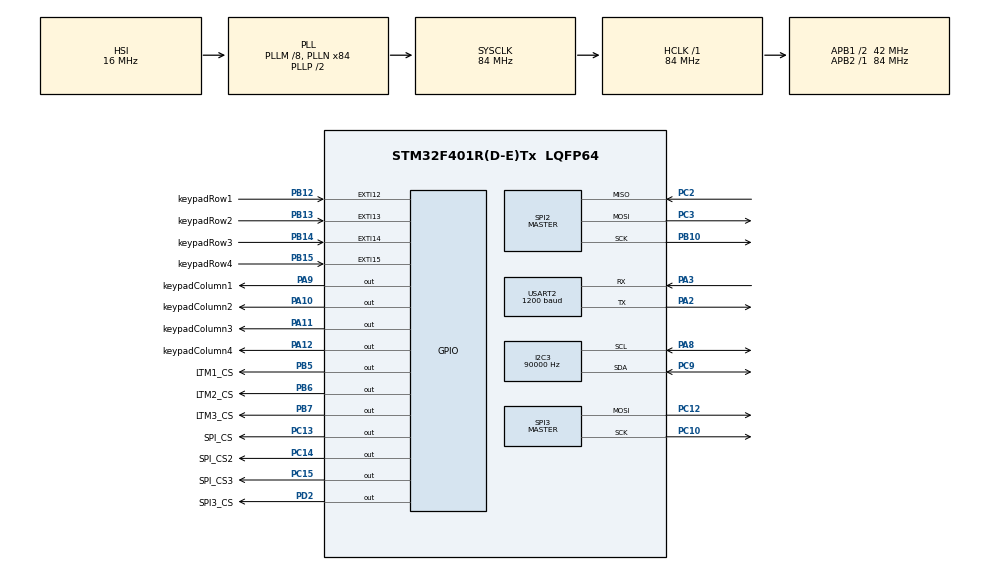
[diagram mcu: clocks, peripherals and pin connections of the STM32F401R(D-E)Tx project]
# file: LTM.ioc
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ADC1.Channel-1\#ChannelRegularConversion=ADC_CHANNEL_VREFINT
ADC1.NbrOfConversionFlag=1
ADC1.Rank-1\#ChannelRegularConversion=1
ADC1.SamplingTime-1\#ChannelRegularConversion=ADC_SAMPLETIME_3CYCLES
ADC1.ScanConvMode=ENABLE
ADC1.master=1
I2C3.ClockSpeed=90000
IWDG.Prescaler=IWDG_PRESCALER_16
Mcu.Family=STM32F4
Mcu.Name=STM32F401R(D-E)Tx
Mcu.Package=LQFP64
NVIC.ADC_IRQn=true\:0\:0\:false\:false\:true\:true\:true\:true
NVIC.EXTI15_10_IRQn=true\:0\:0\:false\:false\:true\:true\:true\:true
NVIC.PriorityGroup=NVIC_PRIORITYGROUP_4
NVIC.USART2_IRQn=true\:0\:0\:false\:false\:true\:true\:true\:true
PA10.GPIO_Label=keypadColumn2
PA10.Signal=GPIO_Output
PA11.GPIO_Label=keypadColumn3
PA11.Signal=GPIO_Output
PA12.GPIO_Label=keypadColumn4
PA12.Signal=GPIO_Output
PA2.Mode=Asynchronous
PA2.Signal=USART2_TX
PA3.Mode=Asynchronous
PA3.Signal=USART2_RX
PA8.Mode=I2C
PA8.Signal=I2C3_SCL
PA9.GPIO_Label=keypadColumn1
PA9.Signal=GPIO_Output
PB10.Mode=Full_Duplex_Master
PB10.Signal=SPI2_SCK
PB12.GPIO_Label=keypadRow1
PB12.GPIO_PuPd=GPIO_PULLDOWN
PB12.Signal=GPXTI12
PB13.GPIO_Label=keypadRow2
PB13.GPIO_PuPd=GPIO_PULLDOWN
PB13.Signal=GPXTI13
PB14.GPIO_Label=keypadRow3
PB14.GPIO_PuPd=GPIO_PULLDOWN
PB14.Signal=GPXTI14
PB15.GPIO_Label=keypadRow4
PB15.GPIO_PuPd=GPIO_PULLDOWN
PB15.Signal=GPXTI15
PB5.GPIO_Label=LTM1_CS
PB5.Signal=GPIO_Output
PB6.GPIO_Label=LTM2_CS
PB6.GPIO_PuPd=GPIO_NOPULL
PB6.GPIO_Speed=GPIO_SPEED_FREQ_LOW
PB6.Signal=GPIO_Output
PB7.GPIO_Label=LTM3_CS
PB7.Signal=GPIO_Output
PC10.Mode=TX_Only_Simplex_Unidirect_Master
PC10.Signal=SPI3_SCK
PC12.Mode=TX_Only_Simplex_Unidirect_Master
PC12.Signal=SPI3_MOSI
PC13-ANTI_TAMP.GPIO_Label=SPI_CS
PC13-ANTI_TAMP.Signal=GPIO_Output
PC14-OSC32_IN.GPIO_Label=SPI_CS2
PC14-OSC32_IN.Signal=GPIO_Output
PC15-OSC32_OUT.GPIO_Label=SPI_CS3
PC15-OSC32_OUT.Signal=GPIO_Output
PC2.Mode=Full_Duplex_Master
PC2.Signal=SPI2_MISO
PC3.Mode=Full_Duplex_Master
PC3.Signal=SPI2_MOSI
PC9.Mode=I2C
PC9.Signal=I2C3_SDA
PD2.GPIO_Label=SPI3_CS
PD2.Signal=GPIO_Output
ProjectManager.HeapSize=0x200
ProjectManager.StackSize=0x400
ProjectManager.TargetToolchain=STM32CubeIDE
RCC.48MHZClocksFreq_Value=42000000
RCC.AHBFreq_Value=84000000
RCC.APB1CLKDivider=RCC_HCLK_DIV2
RCC.APB1Freq_Value=42000000
RCC.APB1TimFreq_Value=84000000
RCC.APB2Freq_Value=84000000
RCC.APB2TimFreq_Value=84000000
RCC.CortexFreq_Value=84000000
RCC.HCLKFreq_Value=84000000
RCC.HSE_VALUE=25000000
RCC.HSI_VALUE=16000000
RCC.LSE_VALUE=32768
RCC.PLLM=8
RCC.PLLN=84
RCC.SYSCLKFreq_VALUE=84000000
RCC.SYSCLKSource=RCC_SYSCLKSOURCE_PLLCLK
RCC.VCOOutputFreq_Value=168000000
SPI2.BaudRatePrescaler=SPI_BAUDRATEPRESCALER_64
SPI2.CLKPhase=SPI_PHASE_1EDGE
SPI2.CLKPolarity=SPI_POLARITY_LOW
SPI2.Direction=SPI_DIRECTION_2LINES
SPI2.FirstBit=SPI_FIRSTBIT_MSB
SPI2.Mode=SPI_MODE_MASTER
SPI2.VirtualType=VM_MASTER
SPI3.BaudRatePrescaler=SPI_BAUDRATEPRESCALER_64
SPI3.Direction=SPI_DIRECTION_2LINES
SPI3.Mode=SPI_MODE_MASTER
SPI3.VirtualType=VM_MASTER
USART2.BaudRate=1200
USART2.Parity=PARITY_EVEN
USART2.VirtualMode=VM_ASYNC
USART2.WordLength=WORDLENGTH_9B
VP_ADC1_Vref_Input.Mode=IN-Vrefint
VP_IWDG_VS_IWDG.Mode=IWDG_Activate
board=custom

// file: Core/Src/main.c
/* USER CODE BEGIN Header */
/**
 ******************************************************************************
 * @file           : main.c
 * @brief          : Main program body
 ******************************************************************************
 * @attention
 *
 * Copyright (c) 2024 STMicroelectronics.
 * All rights reserved.
 *
 * This software is licensed under terms that can be found in the LICENSE file
 * in the root directory of this software component.
 * If no LICENSE file comes with this software, it is provided AS-IS.
 *
 ******************************************************************************
 */
/* USER CODE END Header */
#include "main.h"

/* USER CODE BEGIN Includes */
#include "LTC2986.h"
#include "max7219.h"
#include "i2c_lcd.h"
#include "keypad.h"
#include "string.h"
#include "stdio.h"
#include "stdbool.h"
#include "stdlib.h"
#include <math.h>
#include "ee.h"
//#include "stm32f4xx_hal_adc.h"
//#include "stm32f4xx_hal_adc_ex.h"
/* USER CODE END Includes */

ADC_HandleTypeDef hadc1;

I2C_HandleTypeDef hi2c3;

IWDG_HandleTypeDef hiwdg;

SPI_HandleTypeDef hspi2;
SPI_HandleTypeDef hspi3;

UART_HandleTypeDef huart2;

/* USER CODE BEGIN PV */
ADC_HandleTypeDef *adc_ready;
#define ADC_BITS 12
#define MINIMUM_ACCEPTABLE_VDDA 2200 // = 2.2 V

float temperature;
float cold_junction_temperature;

int temperatures[16]={0};
uint8_t current_channel = 0;
uint8_t current_chip;
uint8_t channel_number;
// Channels: 4 higher bits for the LTM chip and 4 lower bits for the channel.
uint8_t channels[AVAILABLE_CHANNELS] = {0x01, 0x02, 0x03, 0x04, 0x05, 0x06, 0x0A, 0x0A, 0x11, 0x12, 0x13, 0x24, 0x25, 0x0A, 0x1A, 0x2A};
//uint8_t channels[AVAILABLE_CHANNELS] = {0x02, 0x01, 0x25, 0x21, 0x03, 0x13, 0x26, 0x22, 0x04, 0x14, 0x11, 0x23, 0x05, 0x15, 0x12, 0x24};
// channel_order: LTM1ch1, LTM2ch1, LTM3ch1, LTM1ch2, LTM2ch2,...
uint8_t channel_order[18] = {1,10,3,0,14,7,4,5,11,8,9,15,12,13,2,16,17,6};
		//{1, 0,  4,  8, 12, 16,
		//10,14,  5,  9, 13, 17,
		//3,  7, 11, 15,  2,  6};
#define PARALLELIZE 1

#define ROLLING_MEAN 4
float measurements[AVAILABLE_CHANNELS * ROLLING_MEAN] = {0};
float mean;
uint8_t rolling_cycle = 0;

uint8_t cadena[1] = "0";
char last_char = '\0'; // To record last character received
int same_char_count = 0; // Counter for the consecutive times that a specific character has been received
int chars_to_expect = -1; // Counter for the digits that should be sent from the SMART in commands like GGG
#define MAX_COMND_COUNT 3
uint8_t memory_ready = false;

calibration_state_t CURRENT_STATE = NORMAL_STATE;
uint16_t button_pressed = KEYPAD_ERROR_KEY;
uint8_t probes_to_be_calibrated[16] = {0,0,0,0, 0,0,0,0, 0,0,0,0, 0,0,0,0};
float calibration_data[33] = {0,0,0,0, 0,0,0,0, 0,0,0,0, 0,0,0,0,
				1,1,1,1, 1,1,1,1, 1,1,1,1, 1,1,1,1,
				FACTORY_CALIBRATED};
#define calibration_data_address 0x0100 // Completely arbitrary
int calibration_offset_address = calibration_data_address;
int calibration_slope_address = calibration_data_address + 64;
int last_calibration_address = calibration_data_address + 128;
float *calibration_offset = calibration_data;
float *calibration_slope  = calibration_data + 16;
calibrated_t *last_calibration = (void*) (calibration_data + 32);
#define LOAD_CALIBRATION 1
#define SAVE_CALIBRATION 0

float calibration_first_point = 0;
float calibration_reference[16] = {0,0,0,0, 0,0,0,0, 0,0,0,0, 0,0,0,0};
int digit_counter = 0;
uint8_t input_minus = 0;
uint8_t input_dot = 0;
float nominal_temperature = 0;

char static_message[50] = "      SYSTEM READY     C\nCAL.                TEST";
uint32_t init_message_time = 0;

char buffer[100] = {0};
char lcd_buffer[100] = {0};
uint8_t *memory_buffer;

/* USER CODE END PV */

void SystemClock_Config(void);
static void MX_GPIO_Init(void);
static void MX_SPI2_Init(void);
static void MX_USART2_UART_Init(void);
static void MX_SPI3_Init(void);
static void MX_I2C3_Init(void);
static void MX_ADC1_Init(void);
static void MX_IWDG_Init(void);

/* USER CODE BEGIN 0 */
LTC2986_t therms[3] = {{&hspi2, {LTM1_CS_GPIO_Port, LTM1_CS_Pin}}, {&hspi2, {LTM2_CS_GPIO_Port, LTM2_CS_Pin}}, {&hspi2, {LTM3_CS_GPIO_Port, LTM3_CS_Pin}}};

// HAL_UART_Transmit wrapper
void UART_Transmit(char* text, int timeout)
{
	HAL_UART_Transmit(&huart2, (uint8_t *) text, strlen(text), timeout);
	HAL_IWDG_Refresh(&hiwdg);
}

/* USER CODE END 0 */

int main(void)
{

  /* USER CODE BEGIN 1 */
	temperature = 0;
	cold_junction_temperature = 0;

  /* USER CODE END 1 */

  /* MCU Configuration--------------------------------------------------------*/

  /* Reset of all peripherals, Initializes the Flash interface and the Systick. */
  HAL_Init();

  /* Configure the system clock */
  SystemClock_Config();

  /* Initialize all configured peripherals */
  MX_GPIO_Init();
  MX_SPI2_Init();
  MX_USART2_UART_Init();
  MX_SPI3_Init();
  MX_I2C3_Init();
  MX_ADC1_Init();
  MX_IWDG_Init();
  /* USER CODE BEGIN 2 */

  /*
  	 *
  	 * LCD INIT
  	 *
  	 */
  	lcd_init();
  	for(int i = 0; i < 15; i++) {
		HAL_IWDG_Refresh(&hiwdg);
		HAL_Delay(100);
  	}
  	HAL_IWDG_Refresh(&hiwdg);

  	if(__HAL_RCC_GET_FLAG(RCC_FLAG_IWDGRST))
  		lcd_print("ERROR\nREBOOTING...");
  	else
  		lcd_print("Initializing...");
	HAL_UART_Receive_IT(&huart2, cadena, 1);
	/*
	 * ADC INIT
	 */
	HAL_ADC_Init(&hadc1);
	HAL_ADC_Start_IT(&hadc1);

	/*
	 *
	 * LTM INIT
	 *
	 */
	for(current_chip = 0; current_chip < 3; current_chip++) {
		HAL_GPIO_WritePin(therms[current_chip].cs_pin.gpio_port, therms[current_chip].cs_pin.gpio_pin, GPIO_PIN_SET);
	}
	for(current_chip = 0; current_chip < 3; current_chip++) { // TODO: < 3
		HAL_IWDG_Refresh(&hiwdg);
		for(int i = 0; i < 4; i++) {
			HAL_Delay(100); // Delay for LTM init
			HAL_IWDG_Refresh(&hiwdg);
		}
		sprintf(buffer, "LTM%d initializing\n\r", current_chip);
		UART_Transmit(buffer, 200);
		while(!LTC2986_is_ready(therms + current_chip));
		UART_Transmit("Config:\n\n\r", 200);
		LTC2986_global_configure(therms + current_chip);
		UART_Transmit("General config OK\n\r", 200);
		LTC2986_configure_rtd(therms + current_chip, LTC2986_RTD_PT_100, 10, 8);
		UART_Transmit("PT100 config OK\n\r", 200);
		LTC2986_configure_sense_resistor(therms + current_chip, 8, 1000);
		UART_Transmit("Sense R config OK\n\r", 200);
		for(int i = 1; i < 7; i++) {
			LTC2986_configure_thermocouple(therms + current_chip, LTC2986_TYPE_T_THERMOCOUPLE, i, 10);
			sprintf(buffer, "CH %d Therm config OK\n\r", i);
			UART_Transmit(buffer, 200);
		}
	}

	/*
	 *
	 * LED INIT
	 *
	 */
	max7219_Init(3);
	max7219_Decode_Off();
	HAL_IWDG_Refresh(&hiwdg);
	HAL_Delay(50); //This Delay is unnecessary
	HAL_IWDG_Refresh(&hiwdg);
	max7219_Clean();
	max7219_PrintFtos(DIGIT_1, -3.14, 2);
	max7219_PrintDigit(DIGIT_1, LETTER_E, false);
	max7219_PrintDigit(DIGIT_2, LETTER_E, false);
	max7219_PrintDigit(DIGIT_3, LETTER_E, false);
	max7219_PrintDigit(DIGIT_4, LETTER_E, false);
	max7219_PrintFtos(9, -4.25, 2);
	max7219_PrintDigit(13, LETTER_H, false);
	max7219_PrintDigit(14, LETTER_E, false);
	max7219_PrintDigit(15, LETTER_L, false);
	max7219_PrintDigit(16, LETTER_P, false);

	/*
	 *
	 * MEMBKEY INIT
	 *
	 */
	keypad_Init();
	HAL_IWDG_Refresh(&hiwdg);
	/*
	 *
	 * MEMORY INIT
	 *
	 */
	if(ee_init()) {
		memory_ready = true;
		HAL_IWDG_Refresh(&hiwdg);
	} else { // error
		memory_ready = false;
		UART_Transmit("Memory init. error\n\r", 300);
	}
#if LOAD_CALIBRATION
	if(ee_read(last_calibration_address, 1, last_calibration)) {
		UART_Transmit("Calibration status read\n\r", 300);
		*last_calibration = (*last_calibration) & (~JUST_CALIBRATED);
	} else {
		 memory_ready = false;
		 UART_Transmit("Memory read error\n\r", 300);
	}

	if((*last_calibration & PREVIOUSLY_CALIBRATED)) {
		if(ee_read(calibration_offset_address, 0x4 * 16, (uint8_t*) calibration_offset)) {
			UART_Transmit("Calibration offset read\n\r", 300);
			sprintf(buffer, "Offset 1: %f \n\r", calibration_offset[1]);
			UART_Transmit(buffer, 200);
		}
	}
	if((*last_calibration & PREVIOUSLY_CALIBRATED) && (*last_calibration & TWO_POINT_CALIBRATED) && ee_read(calibration_slope_address, 0x4 * AVAILABLE_CHANNELS, (uint8_t*) calibration_slope)) {
		UART_Transmit("Calibration slope read\n\r", 300);
		sprintf(buffer, "Slope 1: %f \n\r", calibration_slope[1]);
		UART_Transmit(buffer, 200);
	}
#endif

	UART_Transmit("----- CPU BOARD CONFIGURED -----\n\r", 300);
	//HAL_UART_Transmit(&huart2, (uint8_t *) "LTM1ch2,LTM2ch1\n\r", strlen("LTM1RTD,LTM2ch1\n\r"), 410); // DEBUG
	for(int i = 0; i < 16; i++) {
		temperatures[i] = 0;
	}
	lcd_print(static_message);
  /* USER CODE END 2 */

  /* Infinite loop */
	while (1)
	{

    /* USER CODE BEGIN 3 */
		// Uncomment for time measurement
		probes_to_be_calibrated[0] = (probes_to_be_calibrated[0] + 1) % 2;
		HAL_GPIO_WritePin(keypadColumn4_GPIO_Port, keypadColumn4_Pin, probes_to_be_calibrated[0] ? GPIO_PIN_SET : GPIO_PIN_RESET);

		HAL_IWDG_Refresh(&hiwdg);
		button_pressed = checkKeypad();
		if(adc_ready && CURRENT_STATE != SHOW_3V3_VOLTAGE_STATE && CURRENT_STATE != SHOW_2V5_VOLTAGE_STATE) {
			check_input_voltage();
			adc_ready = 0;
			// Start the conversion sequence
			HAL_ADC_Start_IT(&hadc1);
		}
		//sprintf(buffer, "key: %02X \n\r", getPressedKey());
		//if(buffer[5] != 'F')
		//	HAL_UART_Transmit(&huart2, (uint8_t *) buffer, strlen(buffer), 200);
		switch(CURRENT_STATE) {
		case NORMAL_STATE:
			check_menu_input();
			update_temperatures();
			break;
		case INIT_CALIBRATION_STATE:
			init_calibration_handler();
			update_temperatures();
			break;
		case CALIBRATE_ALL_PROBES_STATE:
			calibrate_all_probes_handler();
			break;
		case CONFIRM_DETECTED_STATE:
			confirm_detected_handler();
			break;
		case SHOULD_PROBE_STATE:
			should_probe_handler();
			break;
		case CONFIRM_PROBES_STATE:
			confirm_probes_handler();
			break;
		case ONE_OR_TWO_STATE:
			one_or_two_handler();
			break;
		case PLACE_ONLY_POINT_STATE:
			place_only_point_handler();
			update_temperatures();
			break;
		case INPUT_ONLY_TEMPERATURE_STATE:
			input_only_temperature_handler();
			update_temperatures();
			break;
		case PLACE_FIRST_POINT_STATE:
			place_first_point_handler();
			update_temperatures();
			break;
		case INPUT_FIRST_TEMPERATURE_STATE:
			input_first_temperature_handler();
			update_temperatures();
			break;
		case PLACE_SECOND_POINT_STATE:
			place_second_point_handler();
			update_temperatures();
			break;
		case INPUT_SECOND_TEMPERATURE_STATE:
			input_second_temperature_handler();
			update_temperatures();
			break;
		case CALIBRATION_COMPLETE_STATE:
			calibration_complete_handler();
			break;
		case TEST1_STATE:
			test1_handler();
			update_temperatures();
			break;
		case SHOW_2V5_VOLTAGE_STATE:
			show_2v5_voltage_handler();
			update_temperatures();
			break;
		case SHOW_3V3_VOLTAGE_STATE:
			show_3v3_voltage_handler();
			update_temperatures();
			break;
		case RESET_CALIBRATION_STATE:
			reset_calibration_handler();
			update_temperatures();
		default:
			break;
		}
/*
		if(button_pressed != KEYPAD_ERROR_KEY) {
			sprintf(buffer, "key: %d pressed\n\r", button_pressed);
				HAL_UART_Transmit(&huart2, (uint8_t *) buffer, strlen(buffer), 200);
		}
		*/
	}

  /* USER CODE END 3 */
}

void SystemClock_Config(void)
{
  RCC_OscInitTypeDef RCC_OscInitStruct = {0};
  RCC_ClkInitTypeDef RCC_ClkInitStruct = {0};

  /** Configure the main internal regulator output voltage
  */
  __HAL_RCC_PWR_CLK_ENABLE();
  __HAL_PWR_VOLTAGESCALING_CONFIG(PWR_REGULATOR_VOLTAGE_SCALE2);

  /** Initializes the RCC Oscillators according to the specified parameters
  * in the RCC_OscInitTypeDef structure.
  */
  RCC_OscInitStruct.OscillatorType = RCC_OSCILLATORTYPE_HSI|RCC_OSCILLATORTYPE_LSI;
  RCC_OscInitStruct.HSIState = RCC_HSI_ON;
  RCC_OscInitStruct.HSICalibrationValue = RCC_HSICALIBRATION_DEFAULT;
  RCC_OscInitStruct.LSIState = RCC_LSI_ON;
  RCC_OscInitStruct.PLL.PLLState = RCC_PLL_ON;
  RCC_OscInitStruct.PLL.PLLSource = RCC_PLLSOURCE_HSI;
  RCC_OscInitStruct.PLL.PLLM = 8;
  RCC_OscInitStruct.PLL.PLLN = 84;
  RCC_OscInitStruct.PLL.PLLP = RCC_PLLP_DIV2;
  RCC_OscInitStruct.PLL.PLLQ = 4;
  if (HAL_RCC_OscConfig(&RCC_OscInitStruct) != HAL_OK)
  {
    Error_Handler();
  }

  /** Initializes the CPU, AHB and APB buses clocks
  */
  RCC_ClkInitStruct.ClockType = RCC_CLOCKTYPE_HCLK|RCC_CLOCKTYPE_SYSCLK
                              |RCC_CLOCKTYPE_PCLK1|RCC_CLOCKTYPE_PCLK2;
  RCC_ClkInitStruct.SYSCLKSource = RCC_SYSCLKSOURCE_PLLCLK;
  RCC_ClkInitStruct.AHBCLKDivider = RCC_SYSCLK_DIV1;
  RCC_ClkInitStruct.APB1CLKDivider = RCC_HCLK_DIV2;
  RCC_ClkInitStruct.APB2CLKDivider = RCC_HCLK_DIV1;

  if (HAL_RCC_ClockConfig(&RCC_ClkInitStruct, FLASH_LATENCY_2) != HAL_OK)
  {
    Error_Handler();
  }
}

static void MX_ADC1_Init(void)
{

  ADC_ChannelConfTypeDef sConfig = {0};

  /** Configure the global features of the ADC (Clock, Resolution, Data Alignment and number of conversion)
  */
  hadc1.Instance = ADC1;
  hadc1.Init.ClockPrescaler = ADC_CLOCK_SYNC_PCLK_DIV4;
  hadc1.Init.Resolution = ADC_RESOLUTION_12B;
  hadc1.Init.ScanConvMode = ENABLE;
  hadc1.Init.ContinuousConvMode = DISABLE;
  hadc1.Init.DiscontinuousConvMode = DISABLE;
  hadc1.Init.ExternalTrigConvEdge = ADC_EXTERNALTRIGCONVEDGE_NONE;
  hadc1.Init.ExternalTrigConv = ADC_SOFTWARE_START;
  hadc1.Init.DataAlign = ADC_DATAALIGN_RIGHT;
  hadc1.Init.NbrOfConversion = 1;
  hadc1.Init.DMAContinuousRequests = DISABLE;
  hadc1.Init.EOCSelection = ADC_EOC_SINGLE_CONV;
  if (HAL_ADC_Init(&hadc1) != HAL_OK)
  {
    Error_Handler();
  }

  /** Configure for the selected ADC regular channel its corresponding rank in the sequencer and its sample time.
  */
  sConfig.Channel = ADC_CHANNEL_VREFINT;
  sConfig.Rank = 1;
  sConfig.SamplingTime = ADC_SAMPLETIME_3CYCLES;
  if (HAL_ADC_ConfigChannel(&hadc1, &sConfig) != HAL_OK)
  {
    Error_Handler();
  }

}

static void MX_I2C3_Init(void)
{

  hi2c3.Instance = I2C3;
  hi2c3.Init.ClockSpeed = 90000;
  hi2c3.Init.DutyCycle = I2C_DUTYCYCLE_2;
  hi2c3.Init.OwnAddress1 = 0;
  hi2c3.Init.AddressingMode = I2C_ADDRESSINGMODE_7BIT;
  hi2c3.Init.DualAddressMode = I2C_DUALADDRESS_DISABLE;
  hi2c3.Init.OwnAddress2 = 0;
  hi2c3.Init.GeneralCallMode = I2C_GENERALCALL_DISABLE;
  hi2c3.Init.NoStretchMode = I2C_NOSTRETCH_DISABLE;
  if (HAL_I2C_Init(&hi2c3) != HAL_OK)
  {
    Error_Handler();
  }

}

static void MX_IWDG_Init(void)
{

  hiwdg.Instance = IWDG;
  hiwdg.Init.Prescaler = IWDG_PRESCALER_16;
  hiwdg.Init.Reload = 4095;
  if (HAL_IWDG_Init(&hiwdg) != HAL_OK)
  {
    Error_Handler();
  }

}

static void MX_SPI2_Init(void)
{

  /* SPI2 parameter configuration*/
  hspi2.Instance = SPI2;
  hspi2.Init.Mode = SPI_MODE_MASTER;
  hspi2.Init.Direction = SPI_DIRECTION_2LINES;
  hspi2.Init.DataSize = SPI_DATASIZE_8BIT;
  hspi2.Init.CLKPolarity = SPI_POLARITY_LOW;
  hspi2.Init.CLKPhase = SPI_PHASE_1EDGE;
  hspi2.Init.NSS = SPI_NSS_SOFT;
  hspi2.Init.BaudRatePrescaler = SPI_BAUDRATEPRESCALER_64;
  hspi2.Init.FirstBit = SPI_FIRSTBIT_MSB;
  hspi2.Init.TIMode = SPI_TIMODE_DISABLE;
  hspi2.Init.CRCCalculation = SPI_CRCCALCULATION_DISABLE;
  hspi2.Init.CRCPolynomial = 10;
  if (HAL_SPI_Init(&hspi2) != HAL_OK)
  {
    Error_Handler();
  }

}

static void MX_SPI3_Init(void)
{

  /* SPI3 parameter configuration*/
  hspi3.Instance = SPI3;
  hspi3.Init.Mode = SPI_MODE_MASTER;
  hspi3.Init.Direction = SPI_DIRECTION_2LINES;
  hspi3.Init.DataSize = SPI_DATASIZE_8BIT;
  hspi3.Init.CLKPolarity = SPI_POLARITY_LOW;
  hspi3.Init.CLKPhase = SPI_PHASE_1EDGE;
  hspi3.Init.NSS = SPI_NSS_SOFT;
  hspi3.Init.BaudRatePrescaler = SPI_BAUDRATEPRESCALER_64;
  hspi3.Init.FirstBit = SPI_FIRSTBIT_MSB;
  hspi3.Init.TIMode = SPI_TIMODE_DISABLE;
  hspi3.Init.CRCCalculation = SPI_CRCCALCULATION_DISABLE;
  hspi3.Init.CRCPolynomial = 10;
  if (HAL_SPI_Init(&hspi3) != HAL_OK)
  {
    Error_Handler();
  }

}

static void MX_USART2_UART_Init(void)
{

  huart2.Instance = USART2;
  huart2.Init.BaudRate = 1200;
  huart2.Init.WordLength = UART_WORDLENGTH_9B;
  huart2.Init.StopBits = UART_STOPBITS_1;
  huart2.Init.Parity = UART_PARITY_EVEN;
  huart2.Init.Mode = UART_MODE_TX_RX;
  huart2.Init.HwFlowCtl = UART_HWCONTROL_NONE;
  huart2.Init.OverSampling = UART_OVERSAMPLING_16;
  if (HAL_UART_Init(&huart2) != HAL_OK)
  {
    Error_Handler();
  }

}

static void MX_GPIO_Init(void)
{
  GPIO_InitTypeDef GPIO_InitStruct = {0};

  /* GPIO Ports Clock Enable */
  __HAL_RCC_GPIOC_CLK_ENABLE();
  __HAL_RCC_GPIOA_CLK_ENABLE();
  __HAL_RCC_GPIOB_CLK_ENABLE();
  __HAL_RCC_GPIOD_CLK_ENABLE();

  /*Configure GPIO pin Output Level */
  HAL_GPIO_WritePin(GPIOC, SPI_CS_Pin|SPI_CS2_Pin|SPI_CS3_Pin, GPIO_PIN_RESET);

  /*Configure GPIO pin Output Level */
  HAL_GPIO_WritePin(GPIOA, keypadColumn1_Pin|keypadColumn2_Pin|keypadColumn3_Pin|keypadColumn4_Pin, GPIO_PIN_RESET);

  /*Configure GPIO pin Output Level */
  HAL_GPIO_WritePin(SPI3_CS_GPIO_Port, SPI3_CS_Pin, GPIO_PIN_RESET);

  /*Configure GPIO pin Output Level */
  HAL_GPIO_WritePin(GPIOB, LTM1_CS_Pin|LTM2_CS_Pin|LTM3_CS_Pin, GPIO_PIN_RESET);

  /*Configure GPIO pins : SPI_CS_Pin SPI_CS2_Pin SPI_CS3_Pin */
  GPIO_InitStruct.Pin = SPI_CS_Pin|SPI_CS2_Pin|SPI_CS3_Pin;
  GPIO_InitStruct.Mode = GPIO_MODE_OUTPUT_PP;
  GPIO_InitStruct.Pull = GPIO_NOPULL;
  GPIO_InitStruct.Speed = GPIO_SPEED_FREQ_LOW;
  HAL_GPIO_Init(GPIOC, &GPIO_InitStruct);

  /*Configure GPIO pins : keypadRow1_Pin keypadRow2_Pin keypadRow3_Pin keypadRow4_Pin */
  GPIO_InitStruct.Pin = keypadRow1_Pin|keypadRow2_Pin|keypadRow3_Pin|keypadRow4_Pin;
  GPIO_InitStruct.Mode = GPIO_MODE_IT_RISING;
  GPIO_InitStruct.Pull = GPIO_PULLDOWN;
  HAL_GPIO_Init(GPIOB, &GPIO_InitStruct);

  /*Configure GPIO pins : keypadColumn1_Pin keypadColumn2_Pin keypadColumn3_Pin keypadColumn4_Pin */
  GPIO_InitStruct.Pin = keypadColumn1_Pin|keypadColumn2_Pin|keypadColumn3_Pin|keypadColumn4_Pin;
  GPIO_InitStruct.Mode = GPIO_MODE_OUTPUT_PP;
  GPIO_InitStruct.Pull = GPIO_NOPULL;
  GPIO_InitStruct.Speed = GPIO_SPEED_FREQ_LOW;
  HAL_GPIO_Init(GPIOA, &GPIO_InitStruct);

  /*Configure GPIO pin : SPI3_CS_Pin */
  GPIO_InitStruct.Pin = SPI3_CS_Pin;
  GPIO_InitStruct.Mode = GPIO_MODE_OUTPUT_PP;
  GPIO_InitStruct.Pull = GPIO_NOPULL;
  GPIO_InitStruct.Speed = GPIO_SPEED_FREQ_LOW;
  HAL_GPIO_Init(SPI3_CS_GPIO_Port, &GPIO_InitStruct);

  /*Configure GPIO pins : LTM1_CS_Pin LTM2_CS_Pin LTM3_CS_Pin */
  GPIO_InitStruct.Pin = LTM1_CS_Pin|LTM2_CS_Pin|LTM3_CS_Pin;
  GPIO_InitStruct.Mode = GPIO_MODE_OUTPUT_PP;
  GPIO_InitStruct.Pull = GPIO_NOPULL;
  GPIO_InitStruct.Speed = GPIO_SPEED_FREQ_LOW;
  HAL_GPIO_Init(GPIOB, &GPIO_InitStruct);

  /* EXTI interrupt init*/
  HAL_NVIC_SetPriority(EXTI15_10_IRQn, 0, 0);
  HAL_NVIC_EnableIRQ(EXTI15_10_IRQn);

}

/* USER CODE BEGIN 4 */

void check_input_voltage() {
	uint32_t vrefint_raw = HAL_ADC_GetValue(&hadc1);
	float vrefint = vrefint_raw * 3300 / (pow(2, ADC_BITS) - 1);
	// V_DDA = Nominal VDDA * Nominal V_ref / Real V_ref
	uint32_t vdda_voltage = 3300 * 1210 / vrefint;
	if(vdda_voltage < MINIMUM_ACCEPTABLE_VDDA) {
		lcd_print(" --- WARNING ---\nEnergy failure");
		HAL_Delay(1000);
		HAL_NVIC_SystemReset();
	}
}

void check_menu_input()
{
	if(button_pressed == KEYPAD_CALIB_KEY) {
		lcd_print("   SYSTEM CALIBRATION   \n                        ");
		UART_Transmit("Init calib.\n\r", 300);
		init_message_time = HAL_GetTick();
		CURRENT_STATE = INIT_CALIBRATION_STATE;
		button_pressed = KEYPAD_ERROR_KEY;

		return;
	} else if(button_pressed == KEYPAD_E_KEY) {
		lcd_print("   SYSTEM SELF TEST     \nINT 2.5V  3.3V      EXIT");
		UART_Transmit("Init test.\n\r", 300);
		CURRENT_STATE = TEST1_STATE;
		button_pressed = KEYPAD_ERROR_KEY;
		return;
	}
}

void init_calibration_handler()
{
	if(HAL_GetTick() > init_message_time + 3000) {
		lcd_print("Calibrate all probes?\nYES  NO        NEXT EXIT");
		CURRENT_STATE = CALIBRATE_ALL_PROBES_STATE;
		button_pressed = KEYPAD_ERROR_KEY;
	}

}

void update_temperatures()
{

	uint8_t current_chip = (channels[current_channel] & 0xF0) >> 4;
	uint8_t channel_number = (channels[current_channel] & 0x0F);
	static uint8_t waiting_measurement = 0;
	if(!LTC2986_is_ready(&(therms[current_chip]))) {
		return;
	}
	if(!waiting_measurement) {
#if PARALLELIZE
		channel_number = current_channel / 3 + 1;
		for(int i = 0; i < 3 && current_channel + i < AVAILABLE_CHANNELS; i++) {
			current_chip = i;
#endif
			LTC2986_init_measurement(&(therms[current_chip]), channel_number);
			waiting_measurement++;
#if PARALLELIZE
		}
#endif
		return;
	}
	uint8_t channel = current_channel;
#if PARALLELIZE
	for(int i = 0; i < 3 && waiting_measurement; i++) {
		//current_chip = (channels[current_channel] & 0xF0) >> 4;
		//channel_number = (channels[current_channel] & 0x0F);
		current_chip = i;
		channel_number = current_channel / 3 + 1;
		channel = channel_order[current_channel];
		if(channel >= AVAILABLE_CHANNELS) {
			current_channel++;
			continue;
		}
#endif
		if(!LTC2986_is_ready(&(therms[current_chip]))) {
			return;
		}
		float temp = LTC2986_fetch_measurement(&(therms[current_chip]), channel_number);
		waiting_measurement--;
		uint32_t *measure_result;
		measure_result = (uint32_t*) &temp;
		if((((*measure_result) & 0xFFFFFF00) == 0xFFFFFF00) || temp > 99 || temp < 10) { // if temp is NaN
			temperatures[channel] = 0;
			max7219_PrintDigit(channel * 4 + 1, BLANK, true);
			max7219_PrintDigit(channel * 4 + 2, BLANK, true);
			max7219_PrintDigit(channel * 4 + 3, BLANK, true);
			max7219_PrintDigit(channel * 4 + 4, BLANK, true);
		} else {
			measurements[channel + AVAILABLE_CHANNELS * rolling_cycle] = temp;
			mean = 0;
			for(int j = 0; j < ROLLING_MEAN; j++) mean += measurements[channel + AVAILABLE_CHANNELS * j];
			temp = mean / ROLLING_MEAN;
			temp = temp * calibration_slope[channel] + calibration_offset[channel];
			temperatures[channel] = (int)(temp * 100);
			if(temperatures[channel] > 9999 || temperatures[channel] < 1000) {
				temperatures[channel] = 0;
				max7219_PrintDigit(channel * 4 + 1, BLANK, true);
				max7219_PrintDigit(channel * 4 + 2, BLANK, true);
				max7219_PrintDigit(channel * 4 + 3, BLANK, true);
				max7219_PrintDigit(channel * 4 + 4, BLANK, true);
			} else {
				max7219_PrintFtos(channel * 4 + 1, temperatures[channel]/100.0, 2);
			}
		}
#if PARALLELIZE
		if(++current_channel >= 18) {
#else
		if(++current_channel >= AVAILABLE_CHANNELS) {
#endif
			current_channel = 0;
			rolling_cycle = (rolling_cycle + 1) % ROLLING_MEAN;
			//sprintf(buffer, "%d,%d\n\r", temperatures[1], temperatures[8]); // DEBUG
			//HAL_UART_Transmit(&huart2, (uint8_t *) buffer, strlen(buffer), 300); // DEBUG
#if PARALLELIZE
			break;
		}
#endif
	}
	return;
}

void check_connected_probes()
{
	for(int probe_number = 0; probe_number < AVAILABLE_CHANNELS; probe_number++) {
		if(temperatures[probe_number] == 0) {
			probes_to_be_calibrated[probe_number] = false;
			max7219_PrintDigit(probe_number * 4 + 1, BLANK, false);
			max7219_PrintDigit(probe_number * 4 + 2, BLANK, false);
			max7219_PrintDigit(probe_number * 4 + 3, BLANK, false);
			max7219_PrintDigit(probe_number * 4 + 4, BLANK, false);
		} else {
			probes_to_be_calibrated[probe_number] = true;
			max7219_PrintDigit(probe_number * 4 + 1, LETTER_C, false);
			max7219_PrintDigit(probe_number * 4 + 2, LETTER_A, false);
			max7219_PrintDigit(probe_number * 4 + 3, LETTER_L, false);
		}
	}
}

void calibrate_all_probes_handler()
{
	for(uint8_t digit = 1; digit < 1 + AVAILABLE_CHANNELS * 4; digit++) {
		max7219_PrintDigit(digit, BLANK, true);
	}
	if(button_pressed == KEYPAD_EXIT_KEY) {
		CURRENT_STATE = NORMAL_STATE;
		lcd_print(static_message);
		button_pressed = KEYPAD_ERROR_KEY;
	} else if(button_pressed == KEYPAD_A_KEY || button_pressed == KEYPAD_D_KEY) {
		check_connected_probes();
		CURRENT_STATE = CONFIRM_DETECTED_STATE;
		lcd_print("Probes to be calibrated\n       PRESS-->NEXT EXIT");
		button_pressed = KEYPAD_ERROR_KEY;
	} else if(button_pressed == KEYPAD_B_KEY) {
		CURRENT_STATE = SHOULD_PROBE_STATE;
		lcd_print("Cal probe #1?\n     YES  NO   NEXT EXIT");
		button_pressed = KEYPAD_ERROR_KEY;
	}
}
void confirm_detected_handler()
{
	if(button_pressed == KEYPAD_EXIT_KEY) {
		CURRENT_STATE = NORMAL_STATE;
		lcd_print(static_message);
		button_pressed = KEYPAD_ERROR_KEY;
	} else if(button_pressed == KEYPAD_D_KEY) {
		CURRENT_STATE = ONE_OR_TWO_STATE;
		lcd_print("Number of points\nONE  TWO         EXIT");
		button_pressed = KEYPAD_ERROR_KEY;
	}
	return;
}
void should_probe_handler()
{
	static uint8_t probe_number = 0;
	if(button_pressed == KEYPAD_EXIT_KEY) {
		CURRENT_STATE = NORMAL_STATE;
		lcd_print(static_message);
		button_pressed = KEYPAD_ERROR_KEY;
		return;
	} else if(probe_number > 15) {
		CURRENT_STATE = CONFIRM_PROBES_STATE;
		lcd_print("Probes to be calibrated\n       PRESS-->NEXT EXIT");
		probe_number = 0;
		button_pressed = KEYPAD_ERROR_KEY;
	} else if(button_pressed == KEYPAD_YES_KEY) {
		probes_to_be_calibrated[probe_number] = true;
		max7219_PrintDigit(probe_number * 4 + 1, LETTER_C, false);
		max7219_PrintDigit(probe_number * 4 + 2, LETTER_A, false);
		max7219_PrintDigit(probe_number * 4 + 3, LETTER_L, false);
		probe_number++;
		sprintf(lcd_buffer, "Cal probe #%d?\n     YES  NO   NEXT EXIT", probe_number + 1);
		lcd_print(lcd_buffer);
		button_pressed = KEYPAD_ERROR_KEY;
	} else if(button_pressed == KEYPAD_NO_KEY) {
		probes_to_be_calibrated[probe_number] = false;
		max7219_PrintDigit(probe_number * 4 + 1, BLANK, false);
		max7219_PrintDigit(probe_number * 4 + 2, BLANK, false);
		max7219_PrintDigit(probe_number * 4 + 3, BLANK, false);
		max7219_PrintDigit(probe_number * 4 + 4, BLANK, false);
		probe_number++;
		sprintf(lcd_buffer, "Cal probe #%d?\n     YES  NO   NEXT EXIT", probe_number + 1);
		lcd_print(lcd_buffer);
		button_pressed = KEYPAD_ERROR_KEY;
	} else if(button_pressed == KEYPAD_D_KEY) {
		while(probe_number < 16) {
			probes_to_be_calibrated[probe_number] = false;
			max7219_PrintDigit(probe_number * 4 + 1, BLANK, false);
			max7219_PrintDigit(probe_number * 4 + 2, BLANK, false);
			max7219_PrintDigit(probe_number * 4 + 3, BLANK, false);
			max7219_PrintDigit(probe_number * 4 + 4, BLANK, false);
			probe_number++;
		}
		button_pressed = KEYPAD_ERROR_KEY;
	}
	return;
}
void confirm_probes_handler()
{
	if(button_pressed == KEYPAD_EXIT_KEY) {
		CURRENT_STATE = NORMAL_STATE;
		lcd_print(static_message);
		button_pressed = KEYPAD_ERROR_KEY;
	} else if(button_pressed == KEYPAD_D_KEY) {
		CURRENT_STATE = ONE_OR_TWO_STATE;
		lcd_print("Number of cal points\nONE TWO           EXIT");
		UART_Transmit("Going to 1 or 2\n\r", 300);
		button_pressed = KEYPAD_ERROR_KEY;
	}
	return;
}
void one_or_two_handler()
{
	if(button_pressed == KEYPAD_EXIT_KEY) {
		CURRENT_STATE = NORMAL_STATE;
		lcd_print(static_message);
		button_pressed = KEYPAD_ERROR_KEY;
	} else if(button_pressed == KEYPAD_A_KEY) {
		CURRENT_STATE = PLACE_ONLY_POINT_STATE;
		lcd_print("Place probes for cal\n               NEXT EXIT");
		UART_Transmit("Going to place o\n\r", 300);
		button_pressed = KEYPAD_ERROR_KEY;
	} else if(button_pressed == KEYPAD_B_KEY) {
		CURRENT_STATE = PLACE_FIRST_POINT_STATE;
		lcd_print("place probes for cal1\n               NEXT EXIT");
		button_pressed = KEYPAD_ERROR_KEY;
	}
	return;
}
void place_only_point_handler()
{
	if(button_pressed == KEYPAD_EXIT_KEY) {
		CURRENT_STATE = NORMAL_STATE;
		lcd_print(static_message);
		button_pressed = KEYPAD_ERROR_KEY;
	} else if(button_pressed < KEYPAD_EXIT_KEY) {
		CURRENT_STATE = INPUT_ONLY_TEMPERATURE_STATE;
		input_minus = 0;
		input_dot = 0;
		button_pressed = KEYPAD_ERROR_KEY;
		sprintf(lcd_buffer, "Enter cal temp:         \n+/-   .   CLR ENTER EXIT");
		lcd_print(lcd_buffer);
		UART_Transmit("Pressed B\n\r", 300);
		digit_counter = 0;
		nominal_temperature = 0;
	}
	return;
}

void calibrate_one_point()
{
	for(int probe_number = 0; probe_number < AVAILABLE_CHANNELS; probe_number++) {
		if(probes_to_be_calibrated[probe_number]) {
					//LTC2986_measure_channel(&(therms[current_chip]), channel_number);
			mean = 0;
			for(int j = 0; j < ROLLING_MEAN; j++) mean += measurements[probe_number + AVAILABLE_CHANNELS * j];
			float temp = mean / ROLLING_MEAN;
			calibration_offset[probe_number] = nominal_temperature - temp;
		}
	}
	if(memory_ready && ee_format(1)) {
	} else { // error
		memory_ready = false;
		return;
	}
	*last_calibration = *last_calibration | JUST_CALIBRATED | PREVIOUSLY_CALIBRATED | ONE_POINT_CALIBRATED;
	if(memory_ready && !ee_write(calibration_data_address, 2 * 4 * AVAILABLE_CHANNELS + 4, (uint8_t *) calibration_data))memory_ready = false;
}

void input_only_temperature_handler()
{
	if(button_pressed == KEYPAD_EXIT_KEY) {
		CURRENT_STATE = NORMAL_STATE;
		lcd_print(static_message);
		digit_counter = 0;
		button_pressed = KEYPAD_ERROR_KEY;
	} else if(button_pressed < 0xA) {
		if(digit_counter == 0) {
			nominal_temperature = 0;
			sprintf(lcd_buffer, "Enter cal temp  +       \n+/-   .   CLR ENTER EXIT");
		}
		if(input_dot) {
			nominal_temperature = nominal_temperature + button_pressed * pow(10, input_dot - digit_counter);
		} else {
			nominal_temperature = nominal_temperature * 10 + button_pressed;
		}

		lcd_buffer[17 + digit_counter] = '0' + button_pressed;
		digit_counter = (digit_counter + 1) % 7;
		lcd_print(lcd_buffer);
		button_pressed = KEYPAD_ERROR_KEY;
	} else if(button_pressed == KEYPAD_A_KEY) {
		input_minus = (input_minus + 1 ) % 2;
		UART_Transmit("Switching minus\n\r", 300);
		if(input_minus)
			lcd_buffer[16] = '-';
		else
			lcd_buffer[16] = ' ';
		lcd_print(lcd_buffer);
		button_pressed = KEYPAD_ERROR_KEY;
	} else if(button_pressed == KEYPAD_B_KEY) {
		input_dot = digit_counter;
		UART_Transmit("Switching dot\n\r", 300);
		if(input_dot)
			lcd_buffer[17 + digit_counter] = '.';
		else
			lcd_buffer[17 + digit_counter] = ' ';
		lcd_print(lcd_buffer);
		button_pressed = KEYPAD_ERROR_KEY;
		digit_counter = (digit_counter + 1) % 7;
	} else if(button_pressed == KEYPAD_C_KEY) {
		nominal_temperature = 0;
		digit_counter = 0;
		input_minus = 0;
		input_dot = 0;
		sprintf(lcd_buffer, "Enter cal temp  +       \n+/-   .   CLR ENTER EXIT");
		lcd_print(lcd_buffer);
		button_pressed = KEYPAD_ERROR_KEY;
	} else if(button_pressed == KEYPAD_D_KEY) {
		CURRENT_STATE = CALIBRATION_COMPLETE_STATE;
		button_pressed = KEYPAD_ERROR_KEY;
		nominal_temperature = (input_minus ? -1 : 1) * nominal_temperature;
		sprintf(buffer, "temp: %.7f\n\r", nominal_temperature);
		UART_Transmit(buffer, 200);
		digit_counter = 0;
		calibrate_one_point();
		lcd_print("System calibrated\nCongratulations!");
	}

	return;
}

void place_first_point_handler()
{
	if(button_pressed == KEYPAD_EXIT_KEY) {
		CURRENT_STATE = NORMAL_STATE;
		lcd_print(static_message);
		button_pressed = KEYPAD_ERROR_KEY;
	} else if(button_pressed < KEYPAD_EXIT_KEY) {
		CURRENT_STATE = INPUT_FIRST_TEMPERATURE_STATE;
		input_minus = 0;
		input_dot = 0;
		lcd_print("Enter cal temp  +       \n+/-   .   CLR ENTER EXIT");
		button_pressed = KEYPAD_ERROR_KEY;
		digit_counter = 0;
		nominal_temperature = 0;
	}
	return;
}

void input_first_temperature_handler()
{
	if(button_pressed == KEYPAD_EXIT_KEY) {
		CURRENT_STATE = NORMAL_STATE;
		lcd_print(static_message);
		digit_counter = 0;
		button_pressed = KEYPAD_ERROR_KEY;
	} else if(button_pressed < 0xA) {
		if(digit_counter == 0) {
			nominal_temperature = 0;
			sprintf(lcd_buffer, "Enter cal temp  +       \n+/-   .   CLR ENTER EXIT");
		}
		if(input_dot) {
			nominal_temperature = nominal_temperature + button_pressed * pow(10, input_dot - digit_counter);
		} else {
			nominal_temperature = nominal_temperature * 10 + button_pressed;
		}

		lcd_buffer[17 + digit_counter] = '0' + button_pressed;
		digit_counter = (digit_counter + 1) % 7;
		lcd_print(lcd_buffer);
		button_pressed = KEYPAD_ERROR_KEY;
	} else if(button_pressed == KEYPAD_A_KEY) {
		input_minus = (input_minus + 1 ) % 2;
		if(input_minus) {
			lcd_buffer[16] = '-';
		} else {
			lcd_buffer[16] = '+';
		}
		lcd_print(lcd_buffer);
		button_pressed = KEYPAD_ERROR_KEY;
	} else if(button_pressed == KEYPAD_B_KEY) {
		input_dot = digit_counter;
		UART_Transmit("Switching dot\n\r", 300);
		if(input_dot)
			lcd_buffer[17 + digit_counter] = '.';
		else
			lcd_buffer[17 + digit_counter] = ' ';
		lcd_print(lcd_buffer);
		button_pressed = KEYPAD_ERROR_KEY;
		digit_counter = (digit_counter + 1) % 7;
	} else if(button_pressed == KEYPAD_C_KEY) {
		nominal_temperature = 0;
		digit_counter = 0;
		input_minus = 0;
		input_dot = 0;
		sprintf(lcd_buffer, "Enter cal temp:         \n+/-   .   CLR ENTER EXIT");
		lcd_print(lcd_buffer);
		button_pressed = KEYPAD_ERROR_KEY;
	} else if(button_pressed == KEYPAD_D_KEY) {
		CURRENT_STATE = PLACE_SECOND_POINT_STATE;
		lcd_print("place probes for cal2   \n               NEXT EXIT");
		button_pressed = KEYPAD_ERROR_KEY;
		digit_counter = 0;
		calibration_first_point =  (input_minus ? -1 : 1) * nominal_temperature;
		for(int current_channel = 0; current_channel < AVAILABLE_CHANNELS; current_channel++) {
			if(probes_to_be_calibrated[current_channel]) {
				uint8_t current_chip = (channels[current_channel] & 0xF0) >> 4;
				uint8_t channel_number = (channels[current_channel] & 0x0F);

				float temp = LTC2986_measure_channel(&(therms[current_chip]), channel_number);
				calibration_reference[current_channel] = temp;
			}
		}
		sprintf(buffer, "temp: %.7f\n\r", nominal_temperature);
		UART_Transmit(buffer, 200);
	}
	return;
}
void place_second_point_handler()
{
	if(button_pressed == KEYPAD_EXIT_KEY) {
		CURRENT_STATE = NORMAL_STATE;
		lcd_print(static_message);
		button_pressed = KEYPAD_ERROR_KEY;
	} else if(button_pressed < KEYPAD_EXIT_KEY) {
		CURRENT_STATE = INPUT_SECOND_TEMPERATURE_STATE;
		lcd_print("Enter cal temp  +       \n+/-   .   CLR ENTER EXIT");
		button_pressed = KEYPAD_ERROR_KEY;
		digit_counter = 0;
		nominal_temperature = 0;
		input_minus = 0;
		input_dot = 0;
	}
	return;
}

void calibrate_two_points()
{
	for(int probe_number = 0; probe_number < AVAILABLE_CHANNELS; probe_number++) {
		if(probes_to_be_calibrated[probe_number]) {
			uint8_t current_chip = (channels[probe_number] & 0xF0) >> 4;
			uint8_t channel_number = (channels[probe_number] & 0x0F);

			float temp = LTC2986_measure_channel(&(therms[current_chip]), channel_number);
			calibration_slope[probe_number] = (nominal_temperature - calibration_first_point) / (temp - calibration_reference[probe_number]);
			calibration_offset[probe_number] = nominal_temperature - temp * calibration_slope[probe_number];
		}
	}
	if(memory_ready && ee_format(1)) {
	} else { // error
		memory_ready = false;
		return;
	}
	*last_calibration = *last_calibration | JUST_CALIBRATED | PREVIOUSLY_CALIBRATED | TWO_POINT_CALIBRATED;
	if(memory_ready && !ee_write(calibration_data_address, 2 * 4 * AVAILABLE_CHANNELS + 4, (uint8_t *) calibration_data))memory_ready = false;
}

void input_second_temperature_handler()
{
	if(button_pressed == KEYPAD_EXIT_KEY) {
		CURRENT_STATE = NORMAL_STATE;
		lcd_print(static_message);
		digit_counter = 0;
		button_pressed = KEYPAD_ERROR_KEY;
	} else if(button_pressed < 0xA) {
		if(digit_counter == 0) {
			nominal_temperature = 0;
			sprintf(lcd_buffer, "Enter cal temp  +       \n+/-   .   CLR ENTER EXIT");
		}
		if(input_dot) {
			nominal_temperature = nominal_temperature + button_pressed * pow(10, input_dot - digit_counter);
		} else {
			nominal_temperature = nominal_temperature * 10 + button_pressed;
		}

		lcd_buffer[17 + digit_counter] = '0' + button_pressed;
		digit_counter = (digit_counter + 1) % 7;
		lcd_print(lcd_buffer);
		button_pressed = KEYPAD_ERROR_KEY;
	} else if(button_pressed == KEYPAD_A_KEY) {
		input_minus = (input_minus + 1 ) % 2;
		UART_Transmit("Switching minus\n\r", 300);
		if(input_minus)
			lcd_buffer[16] = '-';
		else
			lcd_buffer[16] = '+';
		lcd_print(lcd_buffer);
		button_pressed = KEYPAD_ERROR_KEY;
	} else if(button_pressed == KEYPAD_B_KEY) {
		input_dot = digit_counter;
		UART_Transmit("Switching dot\n\r", 300);
		if(input_dot)
			lcd_buffer[17 + digit_counter] = '.';
		else
			lcd_buffer[17 + digit_counter] = ' ';
		lcd_print(lcd_buffer);
		button_pressed = KEYPAD_ERROR_KEY;
		digit_counter = (digit_counter + 1) % 7;
	} else if(button_pressed == KEYPAD_C_KEY) {
		nominal_temperature = 0;
		digit_counter = 0;
		input_minus = 0;
		input_dot = 0;
		sprintf(lcd_buffer, "Enter cal temp:         \n+/-   .   CLR ENTER EXIT");
		lcd_print(lcd_buffer);
		button_pressed = KEYPAD_ERROR_KEY;
	} else if(button_pressed == KEYPAD_D_KEY) {
		CURRENT_STATE = CALIBRATION_COMPLETE_STATE;
		button_pressed = KEYPAD_ERROR_KEY;
		nominal_temperature = (input_minus ? -1 : 1) * nominal_temperature;
		sprintf(buffer, "temp: %.7f\n\r", nominal_temperature);
		UART_Transmit(buffer, 200);
		digit_counter = 0;
		if(!(nominal_temperature - calibration_first_point)) {
			lcd_print("Second temperature can\nnot be same as first");
			CURRENT_STATE = CALIBRATION_COMPLETE_STATE;
			button_pressed = KEYPAD_ERROR_KEY;
			return;
		}
		sprintf(buffer, "temp: %.7f\n\r", nominal_temperature);
		UART_Transmit(buffer, 200);
		calibrate_two_points();
		lcd_print("System calibrated\nCongratulations!");
		init_message_time = HAL_GetTick();
	}
	return;
}

void calibration_complete_handler()
{
	if(HAL_GetTick() > init_message_time + 5000) {
		lcd_print(static_message);
		CURRENT_STATE = NORMAL_STATE;
	}
	button_pressed = KEYPAD_ERROR_KEY;
	return;
}

void test1_handler()
{
	if(button_pressed == KEYPAD_A_KEY) {
		lcd_print("RESET CALIBRATION?\nYES  NO        NEXT EXIT");
		CURRENT_STATE = RESET_CALIBRATION_STATE;
		button_pressed = KEYPAD_ERROR_KEY;
		return;
	} else if(button_pressed == KEYPAD_B_KEY) {
		lcd_print("MEASURING VOLTAGE...\n                        ");
		CURRENT_STATE = SHOW_2V5_VOLTAGE_STATE;
		button_pressed = KEYPAD_ERROR_KEY;
		return;
	} else if(button_pressed == KEYPAD_C_KEY) {
		lcd_print("MEASURING VOLTAGE...\n                        ");
		CURRENT_STATE = SHOW_3V3_VOLTAGE_STATE;
		button_pressed = KEYPAD_ERROR_KEY;
		return;
	} else if(button_pressed == KEYPAD_E_KEY) {
		lcd_print(static_message);
		CURRENT_STATE = NORMAL_STATE;
		button_pressed = KEYPAD_ERROR_KEY;
		return;
	}
	return;
}

void show_2v5_voltage_handler()
{
	static uint32_t previousMillis = 0;
	static uint32_t currentMillis = 0;
	currentMillis = HAL_GetTick();
	if (currentMillis - previousMillis > 1000 && adc_ready) {
		uint32_t vrefint_raw = HAL_ADC_GetValue(&hadc1);
		float vrefint = vrefint_raw * 3300 / (pow(2, ADC_BITS) - 1);
		// V_DDA = Nominal VDDA * Nominal V_ref / Real V_ref
		uint32_t vdda_voltage = 3300 * 1210 / vrefint;
		sprintf(lcd_buffer, "+3300mV SUPPLY = %d\n                    EXIT", (int) vdda_voltage);
		lcd_print(lcd_buffer);
		adc_ready = 0;
		HAL_ADC_Start_IT(&hadc1);
		previousMillis = currentMillis;
	} else if(button_pressed == KEYPAD_E_KEY) {
		lcd_print(static_message);
		CURRENT_STATE = NORMAL_STATE;
		button_pressed = KEYPAD_ERROR_KEY;
	}
	return;
}

void show_3v3_voltage_handler()
{
	static uint32_t previousMillis = 0;
	static uint32_t currentMillis = 0;

	currentMillis = HAL_GetTick();
	if (currentMillis - previousMillis > 1000 && adc_ready) {
		uint32_t vrefint_raw = HAL_ADC_GetValue(&hadc1);
		float vrefint = vrefint_raw * 3300 / (pow(2, ADC_BITS) - 1);
		// V_DDA = Nominal VDDA * Nominal V_ref / Real V_ref
		uint32_t vdda_voltage = 3300 * 1210 / vrefint;
		sprintf(lcd_buffer, "+3300mV SUPPLY = %d\n                    EXIT", (int) vdda_voltage);
		lcd_print(lcd_buffer);
		adc_ready = 0;
		HAL_ADC_Start_IT(&hadc1);
		previousMillis = currentMillis;
	} else if(button_pressed == KEYPAD_E_KEY) {
		lcd_print(static_message);
		CURRENT_STATE = NORMAL_STATE;
		button_pressed = KEYPAD_ERROR_KEY;
	}
	return;
}

void reset_calibration_handler()
{
	if(button_pressed == KEYPAD_A_KEY) {
		lcd_print("       RESTORING        \n FACTORY CALIBRATION... ");
		for(int i = 0; i < 16; i++) {
			calibration_slope[i] = 1;
			calibration_offset[i] = 0;
		}
		*last_calibration = FACTORY_CALIBRATED;
#if SAVE_CALIBRATION
		if(!(memory_ready && ee_format(1))) { // error
			memory_ready = false;
			return;
		}
		if(memory_ready && !ee_write(calibration_data_address, 2 * 4 * AVAILABLE_CHANNELS + 4, (uint8_t *) calibration_data))memory_ready = false;
#endif
		CURRENT_STATE = CALIBRATION_COMPLETE_STATE;
		button_pressed = KEYPAD_ERROR_KEY;
		lcd_print(static_message);
		return;
	}else if(button_pressed == KEYPAD_B_KEY || button_pressed == KEYPAD_C_KEY || button_pressed == KEYPAD_D_KEY) {
		lcd_print("   SYSTEM SELF TEST     \nINT 2.5V  3.3V      EXIT");
		CURRENT_STATE = TEST1_STATE;
		button_pressed = KEYPAD_ERROR_KEY;
		return;
	} else if(button_pressed == KEYPAD_E_KEY) {
		lcd_print(static_message);
		CURRENT_STATE = NORMAL_STATE;
		button_pressed = KEYPAD_ERROR_KEY;
		return;
	}
	return;
}

_Bool char_counter(char c) {
	// Si el carácter recibido es diferente al último carácter almacenado
	if (c != last_char) {
		// Reiniciar el contador y actualizar el último carácter almacenado
		same_char_count = 1;
		last_char = c;
	} else {
		// Si es el mismo carácter, incrementar el contador
		same_char_count++;
	}

	// Si se ha recibido el mismo carácter el número máximo de veces consecutivas
	if (same_char_count >= MAX_COMND_COUNT) {
		// Responder con un mensaje específico
		//HAL_UART_Transmit(&huart2, (uint8_t *)"OK\n\r", strlen("OK\n\r"), 100);
		// Reiniciar el contador y el último carácter almacenado
		same_char_count = 0;
		last_char = '\0';
		return true;
	} else {
		return false;
	}
}

void N_name_and_status_handler(){
	char respuesta_N[6]="111000"; // This is for LT-100. Comment for S-100
	//char respuesta_N[6]="222000"; // This is for S-100. Comment for LT-100
	char *s;
	for ( s=respuesta_N; *s != '\0'; s++ ) {
		HAL_UART_Transmit(&huart2,(uint8_t *)s , 1, 100);
		//HAL_IWDG_Refresh(&hiwdg);
	}
}

void done(){
	char respuesta_N[3]="DDD";
	char *s;
	for ( s=respuesta_N; *s != '\0'; s++ ) {
		HAL_UART_Transmit(&huart2,(uint8_t *)s , 1, 100);
		HAL_IWDG_Refresh(&hiwdg);
	}
}

void T_temperature_handler(){
	//char temperatures_msg[70] = "EEE3500360037003800350036003700380035003600370038003500360037003800LH";
	char temperature_str[70] = "EEE";
	int i=0;
	for(i=0;i<16;i++){
		temperature_str[i*4 + 6]= '\0';
		sprintf(temperature_str + (3 + 4*i), temperatures[i] ? "%04d" : "000%d", temperatures[i]);  // falta ver que hacer para que funcione cuando el numero tiene menos de 4 digitos.
		//strncpy(&temperatures_msg[3 + i * 4],temperature_str,4);
	}

	unsigned checksum = 0;
	for (int i = 3; i < 3 + 4 * 16; i++) {
		checksum += temperature_str[i];
	}
	int onChar = 3+64;
	temperature_str[onChar++] = checksum % 256;
	temperature_str[onChar++] = checksum / 256;

	char *s;
	for ( s=temperature_str; *s != '\0'; s++ ) {
		HAL_UART_Transmit(&huart2,(uint8_t *)s , 1, 100);
		//HAL_IWDG_Refresh(&hiwdg);
	}
}

void HAL_UART_RxCpltCallback(UART_HandleTypeDef *huart)
{
	/* Prevent unused argument(s) compilation warning */
	if(huart->Instance == USART2)
	{
		if(--chars_to_expect != 0) {
			switch(cadena[0]){
			case 'I':
				if(char_counter(cadena[0])){
				done();
				}
				break;
			case 'N':
				if(char_counter(cadena[0])){
				//HAL_GPIO_WritePin(LD1_GPIO_Port, LD1_Pin, 1);
				N_name_and_status_handler();
				}
				break;
			case 'T':
				if(char_counter(cadena[0])){
					T_temperature_handler();
				}
				break;
			case 'V':
				if(char_counter(cadena[0])){
				chars_to_expect = 3;
				}
				break;
			case 'G':
				if(char_counter(cadena[0])){
				chars_to_expect = 3;
				}
				break;
			case 'E':
				if(char_counter(cadena[0])){
				chars_to_expect = 18;
				}
				break;
			case 'F':
				if(char_counter(cadena[0])){
				chars_to_expect = 3;
				}
				break;
			case 'R':
				if(char_counter(cadena[0])){
				T_temperature_handler();
				}
				break;

			default:
				//HAL_UART_Transmit(&huart2, (uint8_t *)"Comando no reconocido\n", strlen("Comando no reconocido\n"), 100); // acá se debe poner una función tipo "No_recognized_command_handler"
				break;
			}
		} else { // TODO check this programflow
			done();
		}
		cadena[0] = 0;
		HAL_UART_Receive_IT(&huart2, cadena, 1);
	}
}

// Keypad handler
void HAL_GPIO_EXTI_Callback(uint16_t GPIO_Pin)
{
	/*
	uint16_t key = getKeyAsInt(GPIO_Pin);
	if(key == KEYPAD_ERROR_KEY) {
		return;
	}
	button_pressed = key;
	*/
	//HAL_UART_Transmit(&huart2, (uint8_t *) "ExtI\n\r", strlen("ExtI\n\r"), 200);
}

void HAL_ADC_ConvCpltCallback(ADC_HandleTypeDef *hadc)
{
	  adc_ready = hadc;
}

/* USER CODE END 4 */

void Error_Handler(void)
{
	__disable_irq();
	while (1)
	{
	}
}
